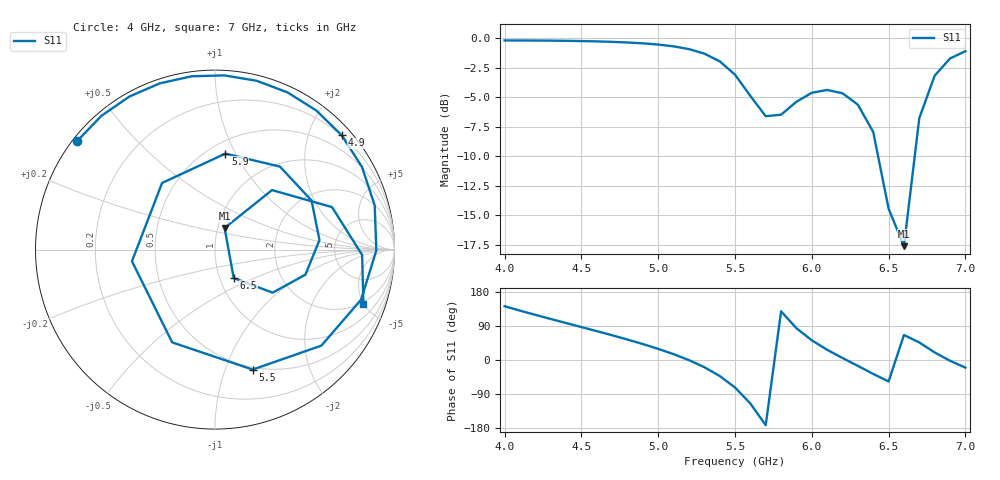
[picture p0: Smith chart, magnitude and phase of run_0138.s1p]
! Touchstone file exported from HFSS 2024.2.0
!  File:  C:/Users/wsak9/Desktop/Sim Fast/Widenad Patch/WP_AI_V1_sweep.aedt
!  Generated:  08:40:47 PM Oct 13, 2026
!  Design:  A1_model
!  Project:  WP_AI_V1_sweep
!  Setup:  Setup1
!  Solution:  Sweep
! Variables:
!  Air_gap = 4.12mm
!  Curve_Amp1 = 2.1
!  Curve_len1 = 1
!  Curve_pos = 9.64mm
!  Extra = 3.21mm
!  H_sub = 0.79mm
!  L_Patch = 15.28mm
!  L_Patch1 = 13.08mm
!  Sx = 4.22mm
!  Sy = 4.95mm
!  WS = 0.28mm
!  W_Patch = 11.61mm
!  W_Patch1 = 9.87mm
!Data is not renormalized
# GHz S MA
! Terminal data exported
! Port[1] = 1
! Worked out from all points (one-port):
!   31 points, 4 GHz to 7 GHz, reference per port
!   lowest |S11| = -17.6 dB at 6.6 GHz (marker M1), VSWR 1.30
!   |S11| at or under -10 dB: 6.432 GHz to 6.67 GHz (238.5 MHz wide, 3.64 % of centre)
!   S11 on the Smith chart (normalised r, x): 4 GHz: 0.01, +0.35; 4.9 GHz: 0.19, +2.59; 5.5 GHz: 0.48, -1.25; 5.9 GHz: 0.61, +0.91; 6.5 GHz: 1.17, -0.38; 7 GHz: 1.84, -4.98
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4  0.9778 141.9
4.2  0.9771 119.2
4.4  0.9743 97.6
4.6  0.9688 76.2
4.7  0.9645 65.2
4.8  0.9587 53.9
4.9  0.9508 42.1
5  0.9396 29.4
5.1  0.9233 15.5
5.2  0.8988 -0.3
5.3  0.8604 -18.9
5.4  0.7984 -42.1
5.5  0.7006 -72.6
5.6  0.5694 -114.8
5.7  0.4672 -172.0
5.8  0.4741 128.4
5.9  0.5379 83.8
6  0.5872 51.9
6.1  0.6036 26.9
6.2  0.5844 5.2
6.3  0.5228 -15.5
6.4  0.4006 -36.8
6.5  0.1897 -56.7
6.6  0.1316 66.0
6.7  0.459 46.2
6.8  0.6937 20.0
6.9  0.8201 -2.1
7  0.8807 -20.1
